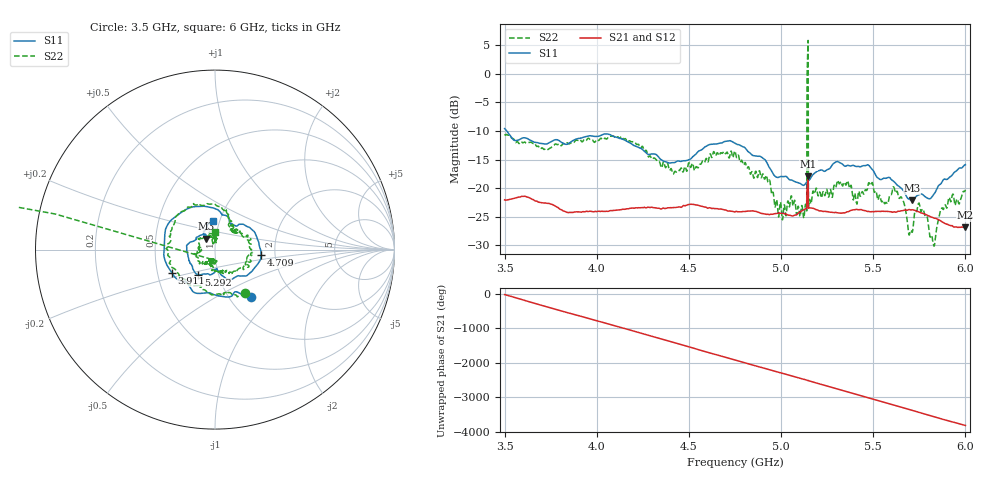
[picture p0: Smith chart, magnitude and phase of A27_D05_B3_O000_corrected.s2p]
! Created with skrf 1.9.0 (http://scikit-rf.org).
# Hz S RI R 50.0
!freq ReS11 ImS11 ReS21 ImS21 ReS12 ImS12 ReS22 ImS22
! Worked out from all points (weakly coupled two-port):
!   1601 points, 3.5 GHz to 6 GHz, reference 50 ohm
!   highest |S21| = -17.89 dB at 5.147 GHz (marker M1); lowest = -26.9 dB at 5.998 GHz (marker M2)
!   lowest |S11| = -22.1 dB at 5.711 GHz (marker M3), VSWR 1.17, Z = 44.9 + j5.46 ohm
!   |S11| at or under -10 dB: 3.512 GHz to end of sweep
!   |S22| runs from -30.1 to 5.8 dB; largest |S21 - S12| = 0.0011
!   S11 on the Smith chart (normalised r, x): 3.5 GHz: 1.26, -0.74; 3.911 GHz: 0.59, -0.17; 4.709 GHz: 1.69, -0.11; 5.292 GHz: 0.80, -0.23; 6 GHz: 0.93, +0.31
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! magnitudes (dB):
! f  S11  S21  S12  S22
! 3.5 GHz  -9.6  -22.0  -22.0  -10.6
! 3.911 GHz  -11.3  -24.2  -24.1  -11.6
! 3.917 GHz  -11.2  -24.2  -24.1  -11.9
! 4.142 GHz  -11.5  -23.7  -23.7  -11.3
! 4.334 GHz  -14.5  -23.5  -23.4  -15.3
! 4.709 GHz  -11.8  -24.0  -23.9  -13.8
! 4.75 GHz  -12.1  -24.1  -24.1  -13.5
! 4.928 GHz  -15.9  -24.6  -24.5  -18.9
! 5.016 GHz  -18.0  -24.4  -24.4  -23.1
! 5.127 GHz  -19.4  -23.7  -23.7  -24.6
! 5.134 GHz  -19.1  -23.6  -23.6  -22.8
! 5.147 GHz  -18.7  -17.9  -17.9  5.8
! 5.167 GHz  -17.8  -23.5  -23.4  -21.8
! 5.292 GHz  -15.5  -24.2  -24.2  -19.7
! 5.584 GHz  -18.1  -24.1  -24.0  -22.0
! 5.62 GHz  -19.1  -24.2  -24.2  -20.7
! 5.711 GHz  -22.1  -23.8  -23.7  -27.7
! 5.753 GHz  -21.1  -24.2  -24.2  -23.1
! 5.828 GHz  -21.1  -25.2  -25.2  -30.0
! 5.875 GHz  -18.8  -25.9  -25.9  -23.5
! 5.998 GHz  -15.9  -26.9  -26.8  -20.5
! 6 GHz  -15.9  -26.8  -26.8  -20.3
